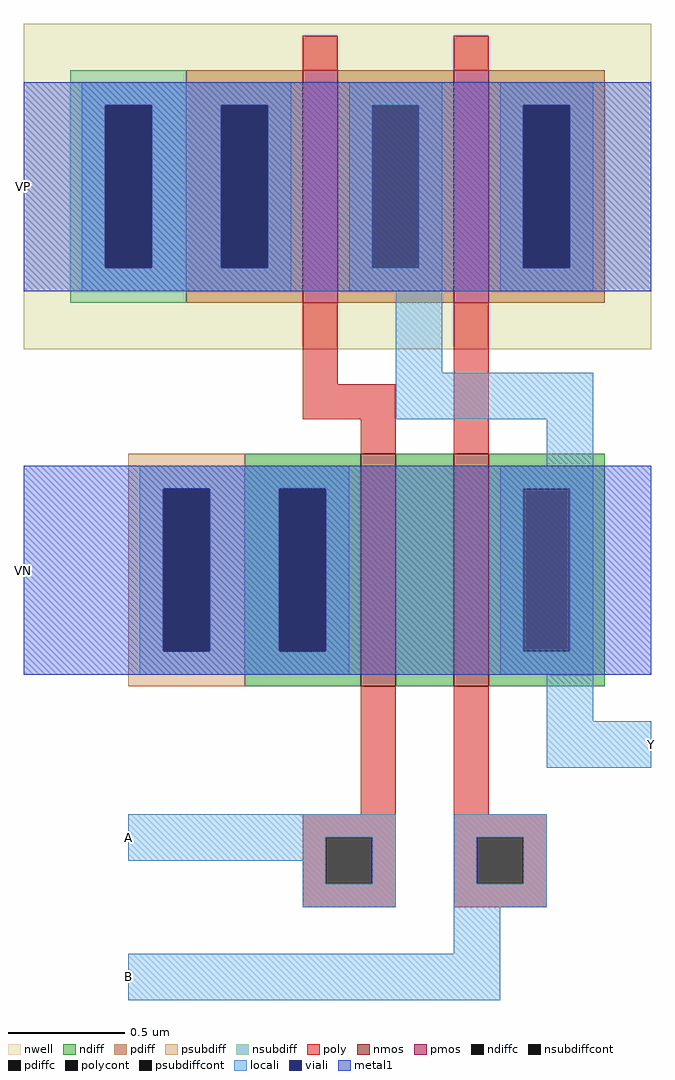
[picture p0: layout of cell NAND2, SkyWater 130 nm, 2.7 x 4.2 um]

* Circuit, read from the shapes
.subckt NAND2 A B Y VP VN
XM1 n1 A VN VN sky130_fd_pr__nfet_01v8 w=1 l=0.15
XM2 Y B n1 VN sky130_fd_pr__nfet_01v8 w=1 l=0.15
XM3 Y A VP VP sky130_fd_pr__pfet_01v8 w=1 l=0.15
XM4 VP B Y VP sky130_fd_pr__pfet_01v8 w=1 l=0.15
.ends

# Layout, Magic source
magic
tech sky130A
<< nwell >>
rect -160 125 110 265
<< nmos >>
rect -15 -20 0 80
rect 25 -20 40 80
<< pmos >>
rect -40 145 -25 245
rect 25 145 40 245
<< ndiff >>
rect -65 65 -15 80
rect -65 -5 -50 65
rect -30 -5 -15 65
rect -65 -20 -15 -5
rect 0 -20 25 80
rect 40 65 90 80
rect 40 -5 55 65
rect 75 -5 90 65
rect 40 -20 90 -5
<< pdiff >>
rect -90 230 -40 245
rect -90 160 -75 230
rect -55 160 -40 230
rect -90 145 -40 160
rect -25 230 25 245
rect -25 160 -10 230
rect 10 160 25 230
rect -25 145 25 160
rect 40 230 90 245
rect 40 160 55 230
rect 75 160 90 230
rect 40 145 90 160
<< ndiffc >>
rect -50 -5 -30 65
rect 55 -5 75 65
<< pdiffc >>
rect -75 160 -55 230
rect -10 160 10 230
rect 55 160 75 230
<< psubdiff >>
rect -115 65 -65 80
rect -115 -5 -100 65
rect -80 -5 -65 65
rect -115 -20 -65 -5
<< nsubdiff >>
rect -140 230 -90 245
rect -140 160 -125 230
rect -105 160 -90 230
rect -140 145 -90 160
<< psubdiffcont >>
rect -100 -5 -80 65
<< nsubdiffcont >>
rect -125 160 -105 230
<< poly >>
rect -40 245 -25 260
rect 25 245 40 260
rect -40 110 -25 145
rect -40 95 0 110
rect -15 80 0 95
rect 25 80 40 145
rect -15 -75 0 -20
rect -40 -85 0 -75
rect -40 -105 -30 -85
rect -10 -105 0 -85
rect -40 -115 0 -105
rect 25 -75 40 -20
rect 25 -85 65 -75
rect 25 -105 35 -85
rect 55 -105 65 -85
rect 25 -115 65 -105
<< polycont >>
rect -30 -105 -10 -85
rect 35 -105 55 -85
<< locali >>
rect -135 230 -45 240
rect -135 160 -125 230
rect -105 160 -75 230
rect -55 160 -45 230
rect -135 150 -45 160
rect -20 230 20 240
rect -20 160 -10 230
rect 10 160 20 230
rect -20 150 20 160
rect 45 230 85 240
rect 45 160 55 230
rect 75 160 85 230
rect 45 150 85 160
rect 0 115 20 150
rect 0 95 85 115
rect 65 75 85 95
rect -110 65 -20 75
rect -110 -5 -100 65
rect -80 -5 -50 65
rect -30 -5 -20 65
rect -110 -15 -20 -5
rect 45 65 85 75
rect 45 -5 55 65
rect 75 -5 85 65
rect 45 -15 85 -5
rect 65 -35 85 -15
rect 65 -55 110 -35
rect -115 -85 0 -75
rect -115 -95 -30 -85
rect -40 -105 -30 -95
rect -10 -105 0 -85
rect -40 -115 0 -105
rect 25 -85 65 -75
rect 25 -105 35 -85
rect 55 -105 65 -85
rect 25 -115 65 -105
rect 25 -135 45 -115
rect -115 -155 45 -135
<< viali >>
rect -125 160 -105 230
rect -75 160 -55 230
rect 55 160 75 230
rect -100 -5 -80 65
rect -50 -5 -30 65
<< metal1 >>
rect -160 230 110 240
rect -160 160 -125 230
rect -105 160 -75 230
rect -55 160 55 230
rect 75 160 110 230
rect -160 150 110 160
rect -160 65 110 75
rect -160 -5 -100 65
rect -80 -5 -50 65
rect -30 -5 110 65
rect -160 -15 110 -5
<< labels >>
rlabel metal1 -160 195 -160 195 7 VP
port 4 w
rlabel metal1 -160 30 -160 30 7 VN
port 5 w
rlabel locali -115 -85 -115 -85 7 A
port 1 w
rlabel locali -115 -145 -115 -145 7 B
port 2 w
rlabel locali 110 -45 110 -45 3 Y
port 3 e
<< end >>
